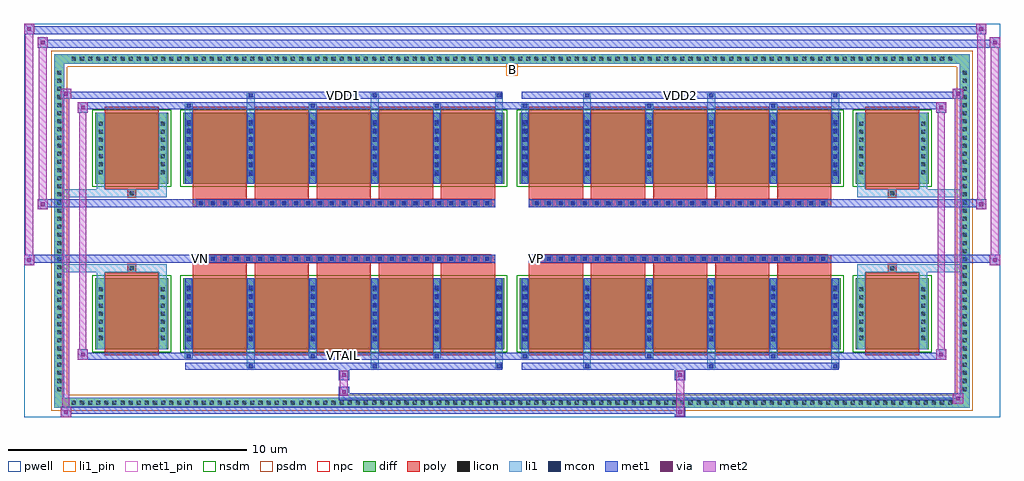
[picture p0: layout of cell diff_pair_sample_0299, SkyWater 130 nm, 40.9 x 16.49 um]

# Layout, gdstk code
import gdstk
lib = gdstk.Library(unit=1e-6, precision=5e-09)
def R(c, l, rs):  # rectangles x0, y0, x1, y1
    for r in rs: c.add(gdstk.rectangle(r[:2], r[2:], *l))
def A(c, l, x, y, w, h, nx, ny, dx, dy):  # array of equal rectangles
    R(c, l, [(x+i*dx, y+j*dy, x+i*dx+w, y+j*dy+h) for i in range(nx) for j in range(ny)])
def P(c, l, *ps):  # polygons
    for p in ps: c.add(gdstk.Polygon(p, *l))
pwell = (64, 44)
diff = (65, 20)
poly = (66, 20)
licon = (66, 44)
li1_pin = (67, 16)
li1 = (67, 20)
mcon = (67, 44)
met1_pin = (68, 16)
met1 = (68, 20)
via = (68, 44)
met2 = (69, 20)
nsdm = (93, 44)
psdm = (94, 20)
npc = (95, 20)

diff_pair_sample_0299 = lib.new_cell('diff_pair_sample_0299')
R(diff_pair_sample_0299, pwell, [(-20.45,-7.81,20.45,8.68), (-17.77,-6,-0.01,-0.8), (0.01,-6,17.77,-0.8), (-17.77,0.8,-0.01,6), (0.01,0.8,17.77,6)])
A(diff_pair_sample_0299, diff, -18.565, -7.41, 0.41, 0.41, 109, 2, 0.34, 14.41)
A(diff_pair_sample_0299, diff, -19.18, -6.835, 0.41, 0.41, 1, 40, 0, 0.34)
A(diff_pair_sample_0299, diff, 18.77, -6.835, 0.41, 0.41, 1, 40, 0, 0.34)
R(diff_pair_sample_0299, diff, [(-18.565,-7.41,18.565,-7), (-19.18,-6.835,-18.77,6.835), (18.77,-6.835,19.18,6.835), (-17.46,-4.955,-14.41,-1.985), (-13.77,-4.955,-0.32,-1.985), (0.32,-4.955,13.77,-1.985), (14.41,-4.955,17.46,-1.985), (-17.46,1.985,-14.41,4.955), (-13.77,1.985,-0.32,4.955), (0.32,1.985,13.77,4.955), (14.41,1.985,17.46,4.955), (-18.565,7,18.565,7.41)])
P(diff_pair_sample_0299, diff, [(19.18,7.41),(-19.18,7.41),(-19.18,-7),(-18.77,-7),(-18.77,7),(18.77,7),(18.77,-7),(-18.77,-7),(-19.18,-7),(-19.18,-7.41),(19.18,-7.41)])
A(diff_pair_sample_0299, poly, -13.38, -5.205, 2.27, 3.47, 5, 2, 2.6, 6.94)
A(diff_pair_sample_0299, poly, 0.71, -5.205, 2.27, 3.47, 5, 2, 2.6, 6.94)
A(diff_pair_sample_0299, poly, -13.38, -1.735, 2.27, 0.405, 5, 2, 2.6, 3.065)
A(diff_pair_sample_0299, poly, 0.71, -1.735, 2.27, 0.405, 5, 2, 2.6, 3.065)
A(diff_pair_sample_0299, poly, -13.21, -1.33, 0.33, 0.33, 25, 2, 0.5, 2.33)
A(diff_pair_sample_0299, poly, 0.88, -1.33, 0.33, 0.33, 25, 2, 0.5, 2.33)
R(diff_pair_sample_0299, poly, [(-17.07,-5.205,-14.8,-1.735), (14.8,-5.205,17.07,-1.735), (-16.1,-1.735,-15.77,-1.405), (-16.1,-1.735,-15.77,-1.405), (15.77,-1.735,16.1,-1.405), (15.77,-1.735,16.1,-1.405), (-13.38,-1.33,-0.71,-1), (0.71,-1.33,13.38,-1), (-13.38,1,-0.71,1.33), (0.71,1,13.38,1.33), (-16.1,1.405,-15.77,1.735), (-16.1,1.405,-15.77,1.735), (15.77,1.405,16.1,1.735), (15.77,1.405,16.1,1.735), (-17.07,1.735,-14.8,5.205), (14.8,1.735,17.07,5.205)])
A(diff_pair_sample_0299, licon, -18.445, -7.29, 0.17, 0.17, 109, 2, 0.34, 14.41)
A(diff_pair_sample_0299, licon, -19.06, -6.715, 0.17, 0.17, 1, 40, 0, 0.34)
A(diff_pair_sample_0299, licon, 18.89, -6.715, 0.17, 0.17, 1, 40, 0, 0.34)
A(diff_pair_sample_0299, licon, -17.32, -4.575, 0.17, 0.17, 1, 7, 0, 0.34)
A(diff_pair_sample_0299, licon, -14.72, -4.575, 0.17, 0.17, 1, 7, 0, 0.34)
A(diff_pair_sample_0299, licon, -13.63, -4.575, 0.17, 0.17, 6, 7, 2.6, 0.34)
A(diff_pair_sample_0299, licon, 0.46, -4.575, 0.17, 0.17, 6, 7, 2.6, 0.34)
A(diff_pair_sample_0299, licon, 14.55, -4.575, 0.17, 0.17, 1, 7, 0, 0.34)
A(diff_pair_sample_0299, licon, 17.15, -4.575, 0.17, 0.17, 1, 7, 0, 0.34)
A(diff_pair_sample_0299, licon, -13.13, -1.25, 0.17, 0.17, 25, 2, 0.5, 2.33)
A(diff_pair_sample_0299, licon, 0.96, -1.25, 0.17, 0.17, 25, 2, 0.5, 2.33)
A(diff_pair_sample_0299, licon, -17.32, 2.365, 0.17, 0.17, 1, 7, 0, 0.34)
A(diff_pair_sample_0299, licon, -14.72, 2.365, 0.17, 0.17, 1, 7, 0, 0.34)
A(diff_pair_sample_0299, licon, -13.63, 2.365, 0.17, 0.17, 6, 7, 2.6, 0.34)
A(diff_pair_sample_0299, licon, 0.46, 2.365, 0.17, 0.17, 6, 7, 2.6, 0.34)
A(diff_pair_sample_0299, licon, 14.55, 2.365, 0.17, 0.17, 1, 7, 0, 0.34)
A(diff_pair_sample_0299, licon, 17.15, 2.365, 0.17, 0.17, 1, 7, 0, 0.34)
R(diff_pair_sample_0299, licon, [(-16.02,-1.655,-15.85,-1.485), (15.85,-1.655,16.02,-1.485), (-16.02,1.485,-15.85,1.655), (15.85,1.485,16.02,1.655)])
R(diff_pair_sample_0299, li1_pin, [(-0.25,6.5,0.25,7)])
A(diff_pair_sample_0299, li1, -18.525, -7.37, 0.33, 0.33, 109, 2, 0.34, 14.41)
A(diff_pair_sample_0299, li1, -19.14, -6.795, 0.33, 0.33, 1, 40, 0, 0.34)
A(diff_pair_sample_0299, li1, 18.81, -6.795, 0.33, 0.33, 1, 40, 0, 0.34)
A(diff_pair_sample_0299, li1, -11.11, -5.76, 0.33, 0.805, 3, 2, 5.2, 10.715)
A(diff_pair_sample_0299, li1, -11.03, -5.76, 0.17, 0.17, 3, 2, 5.2, 11.35)
A(diff_pair_sample_0299, li1, 2.98, -5.76, 0.33, 0.805, 3, 2, 5.2, 10.715)
A(diff_pair_sample_0299, li1, 3.06, -5.76, 0.17, 0.17, 3, 2, 5.2, 11.35)
A(diff_pair_sample_0299, li1, -13.71, -5.33, 0.33, 0.375, 3, 2, 5.2, 10.285)
A(diff_pair_sample_0299, li1, -13.63, -5.33, 0.17, 0.17, 3, 2, 5.2, 10.49)
A(diff_pair_sample_0299, li1, 0.38, -5.33, 0.33, 0.375, 3, 2, 5.2, 10.285)
A(diff_pair_sample_0299, li1, 0.46, -5.33, 0.17, 0.17, 3, 2, 5.2, 10.49)
A(diff_pair_sample_0299, li1, -13.71, -4.955, 0.33, 2.97, 6, 2, 2.6, 6.94)
A(diff_pair_sample_0299, li1, 0.38, -4.955, 0.33, 2.97, 6, 2, 2.6, 6.94)
A(diff_pair_sample_0299, li1, -17.4, -4.655, 0.33, 0.33, 1, 7, 0, 0.34)
A(diff_pair_sample_0299, li1, -14.8, -4.655, 0.33, 0.33, 1, 7, 0, 0.34)
A(diff_pair_sample_0299, li1, -13.71, -4.655, 0.33, 0.33, 6, 7, 2.6, 0.34)
A(diff_pair_sample_0299, li1, 0.38, -4.655, 0.33, 0.33, 6, 7, 2.6, 0.34)
A(diff_pair_sample_0299, li1, 14.47, -4.655, 0.33, 0.33, 1, 7, 0, 0.34)
A(diff_pair_sample_0299, li1, 17.07, -4.655, 0.33, 0.33, 1, 7, 0, 0.34)
A(diff_pair_sample_0299, li1, -13.63, -4.635, 0.17, 0.17, 6, 7, 2.6, 0.36)
A(diff_pair_sample_0299, li1, -13.63, -4.635, 0.17, 2.33, 6, 2, 2.6, 6.94)
A(diff_pair_sample_0299, li1, 0.46, -4.635, 0.17, 0.17, 6, 7, 2.6, 0.36)
A(diff_pair_sample_0299, li1, 0.46, -4.635, 0.17, 2.33, 6, 2, 2.6, 6.94)
A(diff_pair_sample_0299, li1, -13.21, -1.33, 0.33, 0.33, 25, 2, 0.5, 2.33)
A(diff_pair_sample_0299, li1, 0.88, -1.33, 0.33, 0.33, 25, 2, 0.5, 2.33)
A(diff_pair_sample_0299, li1, -17.4, 2.285, 0.33, 0.33, 1, 7, 0, 0.34)
A(diff_pair_sample_0299, li1, -14.8, 2.285, 0.33, 0.33, 1, 7, 0, 0.34)
A(diff_pair_sample_0299, li1, -13.71, 2.285, 0.33, 0.33, 6, 7, 2.6, 0.34)
A(diff_pair_sample_0299, li1, 0.38, 2.285, 0.33, 0.33, 6, 7, 2.6, 0.34)
A(diff_pair_sample_0299, li1, 14.47, 2.285, 0.33, 0.33, 1, 7, 0, 0.34)
A(diff_pair_sample_0299, li1, 17.07, 2.285, 0.33, 0.33, 1, 7, 0, 0.34)
A(diff_pair_sample_0299, li1, -13.63, 2.305, 0.17, 0.17, 6, 7, 2.6, 0.36)
A(diff_pair_sample_0299, li1, 0.46, 2.305, 0.17, 0.17, 6, 7, 2.6, 0.36)
R(diff_pair_sample_0299, li1, [(-19.18,-7.41,-18.77,-7), (-19.18,-7.41,-18.77,-7), (-18.77,-7.41,18.77,-7), (18.77,-7.41,19.18,-7), (18.77,-7.41,19.18,-7), (-19.18,-7,-18.77,7), (18.77,-7,19.18,7), (-17.4,-4.955,-17.07,-1.985), (-14.8,-4.955,-14.47,-1.985), (14.47,-4.955,14.8,-1.985), (17.07,-4.955,17.4,-1.985), (-17.4,-1.985,-17.07,-1.405), (-14.8,-1.985,-14.47,-1.405), (14.47,-1.985,14.8,-1.405), (17.07,-1.985,17.4,-1.405), (-19.18,-1.735,-16.1,-1.405), (-17.4,-1.735,-16.1,-1.405), (-16.1,-1.735,-15.77,-1.405), (-15.77,-1.735,-14.47,-1.405), (14.47,-1.735,15.77,-1.405), (15.77,-1.735,16.1,-1.405), (15.77,-1.735,19.18,-1.405), (16.1,-1.735,17.4,-1.405), (-19.18,1.405,-16.1,1.735), (-17.4,1.405,-16.1,1.735), (-17.4,1.405,-17.07,1.985), (-16.1,1.405,-15.77,1.735), (-15.77,1.405,-14.47,1.735), (-14.8,1.405,-14.47,1.985), (14.47,1.405,15.77,1.735), (14.47,1.405,14.8,1.985), (15.77,1.405,16.1,1.735), (15.77,1.405,19.18,1.735), (16.1,1.405,17.4,1.735), (17.07,1.405,17.4,1.985), (-17.4,1.985,-17.07,4.955), (-14.8,1.985,-14.47,4.955), (14.47,1.985,14.8,4.955), (17.07,1.985,17.4,4.955), (-19.18,7,-18.77,7.41), (-19.18,7,-18.77,7.41), (-18.77,7,18.77,7.41), (18.77,7,19.18,7.41), (18.77,7,19.18,7.41)])
A(diff_pair_sample_0299, mcon, -11.03, -5.76, 0.17, 0.17, 3, 2, 5.2, 11.35)
A(diff_pair_sample_0299, mcon, 3.06, -5.76, 0.17, 0.17, 3, 2, 5.2, 11.35)
A(diff_pair_sample_0299, mcon, -13.63, -5.33, 0.17, 0.17, 3, 2, 5.2, 10.49)
A(diff_pair_sample_0299, mcon, 0.46, -5.33, 0.17, 0.17, 3, 2, 5.2, 10.49)
A(diff_pair_sample_0299, mcon, -13.63, -4.635, 0.17, 0.17, 6, 7, 2.6, 0.36)
A(diff_pair_sample_0299, mcon, 0.46, -4.635, 0.17, 0.17, 6, 7, 2.6, 0.36)
A(diff_pair_sample_0299, mcon, -13.13, -1.25, 0.17, 0.17, 25, 2, 0.5, 2.33)
A(diff_pair_sample_0299, mcon, 0.96, -1.25, 0.17, 0.17, 25, 2, 0.5, 2.33)
A(diff_pair_sample_0299, mcon, -13.63, 2.305, 0.17, 0.17, 6, 7, 2.6, 0.36)
A(diff_pair_sample_0299, mcon, 0.46, 2.305, 0.17, 0.17, 6, 7, 2.6, 0.36)
R(diff_pair_sample_0299, met1_pin, [(-7.18,-5.37,-6.91,-5.1), (-13.18,-1.29,-12.91,-1.02), (0.91,-1.29,1.18,-1.02), (-7.18,5.55,-6.91,5.82), (6.91,5.55,7.18,5.82)])
A(diff_pair_sample_0299, met1, -11.09, -5.82, 0.29, 0.29, 3, 2, 5.2, 11.35)
A(diff_pair_sample_0299, met1, 3, -5.82, 0.29, 0.29, 3, 2, 5.2, 11.35)
A(diff_pair_sample_0299, met1, -13.69, -5.39, 0.29, 0.29, 3, 2, 5.2, 10.49)
A(diff_pair_sample_0299, met1, 0.4, -5.39, 0.29, 0.29, 3, 2, 5.2, 10.49)
A(diff_pair_sample_0299, met1, -13.69, -4.955, 0.29, 2.97, 6, 2, 2.6, 6.94)
A(diff_pair_sample_0299, met1, 0.4, -4.955, 0.29, 2.97, 6, 2, 2.6, 6.94)
A(diff_pair_sample_0299, met1, -13.69, -4.695, 0.29, 0.29, 6, 7, 2.6, 0.36)
A(diff_pair_sample_0299, met1, 0.4, -4.695, 0.29, 0.29, 6, 7, 2.6, 0.36)
A(diff_pair_sample_0299, met1, -13.19, -1.31, 0.29, 0.29, 25, 2, 0.5, 2.33)
A(diff_pair_sample_0299, met1, 0.9, -1.31, 0.29, 0.29, 25, 2, 0.5, 2.33)
A(diff_pair_sample_0299, met1, -13.69, 2.245, 0.29, 0.29, 6, 7, 2.6, 0.36)
A(diff_pair_sample_0299, met1, 0.4, 2.245, 0.29, 0.29, 6, 7, 2.6, 0.36)
R(diff_pair_sample_0299, met1, [(-18.91,-7.81,-18.48,-7.38), (6.83,-7.81,7.26,-7.38), (-18.91,-7.67,7.26,-7.38), (18.48,-7.24,18.91,-6.81), (-7.26,-7.1,18.91,-6.81), (-7.26,-6.96,-6.83,-6.53), (-7.26,-6.25,-6.83,-5.82), (6.83,-6.25,7.26,-5.82), (-13.69,-5.82,-0.4,-5.53), (0.4,-5.82,13.69,-5.53), (-18.2,-5.39,-17.77,-4.96), (-18.2,-5.39,-13.69,-5.1), (-13.69,-5.39,-0.4,-5.1), (-0.4,-5.39,0.4,-5.1), (0.4,-5.39,13.69,-5.1), (13.69,-5.39,18.2,-5.1), (17.77,-5.39,18.2,-4.96), (-20.45,-1.43,-20.02,-1), (20.02,-1.43,20.45,-1), (-20.45,-1.33,-0.71,-1), (-13.38,-1.33,-0.71,-1), (0.71,-1.33,13.38,-1), (0.71,-1.33,20.45,-1), (-19.88,0.9,-19.45,1.33), (19.45,0.9,19.88,1.33), (-19.88,1,-13.38,1.33), (-13.38,1,-0.71,1.33), (0.71,1,13.38,1.33), (13.38,1,19.88,1.33), (-18.2,4.96,-17.77,5.39), (17.77,4.96,18.2,5.39), (-18.2,5.1,-13.69,5.39), (-13.69,5.1,-0.4,5.39), (-0.4,5.1,0.4,5.39), (0.4,5.1,13.69,5.39), (13.69,5.1,18.2,5.39), (-18.91,5.53,-18.48,5.96), (-18.91,5.53,-13.69,5.82), (-13.69,5.53,-0.4,5.82), (0.4,5.53,13.69,5.82), (13.69,5.53,18.91,5.82), (18.48,5.53,18.91,5.96), (-19.88,7.68,-19.45,8.11), (-19.88,7.68,-17.77,8.01), (-17.77,7.68,17.77,8.01), (17.77,7.68,20.45,8.01), (20.02,7.68,20.45,8.11), (-20.45,8.25,-20.02,8.68), (-20.45,8.25,-17.77,8.58), (-17.77,8.25,17.77,8.58), (17.77,8.25,19.88,8.58), (19.45,8.25,19.88,8.68)])
R(diff_pair_sample_0299, via, [(-18.77,-7.67,-18.62,-7.52), (6.97,-7.67,7.12,-7.52), (18.62,-7.1,18.77,-6.95), (-7.12,-6.82,-6.97,-6.67), (-7.12,-6.11,-6.97,-5.96), (6.97,-6.11,7.12,-5.96), (-18.06,-5.25,-17.91,-5.1), (17.91,-5.25,18.06,-5.1), (-20.31,-1.29,-20.16,-1.14), (20.16,-1.29,20.31,-1.14), (-19.74,1.04,-19.59,1.19), (19.59,1.04,19.74,1.19), (-18.06,5.1,-17.91,5.25), (17.91,5.1,18.06,5.25), (-18.77,5.67,-18.62,5.82), (18.62,5.67,18.77,5.82), (-19.74,7.82,-19.59,7.97), (20.16,7.82,20.31,7.97), (-20.31,8.39,-20.16,8.54), (19.59,8.39,19.74,8.54)])
R(diff_pair_sample_0299, met2, [(-18.91,-7.81,-18.48,-7.38), (-18.84,-7.81,-18.55,5.96), (-18.55,-7.81,-18.48,-7.38), (-18.86,-7.76,-18.53,-7.43), (6.88,-7.76,7.21,-7.43), (6.88,-7.43,7.21,-6.2), (18.48,-7.24,18.91,-6.81), (18.55,-7.24,18.84,5.96), (18.84,-7.24,18.91,-6.81), (18.53,-7.19,18.86,-6.86), (-7.21,-6.91,-6.88,-6.58), (-7.21,-6.58,-6.88,-6.2), (-7.21,-6.2,-6.88,-5.87), (6.88,-6.2,7.21,-5.87), (-18.2,-5.39,-17.77,-4.96), (-18.13,-5.39,-17.84,5.39), (-17.84,-5.39,-17.77,-4.96), (17.77,-5.39,18.2,-4.96), (17.84,-5.39,18.13,5.39), (18.13,-5.39,18.2,-4.96), (-18.15,-5.34,-17.82,-5.01), (17.82,-5.34,18.15,-5.01), (-20.45,-1.43,-20.02,-1), (-20.4,-1.43,-20.07,8.68), (-20.07,-1.43,-20.02,-1), (20.02,-1.43,20.45,-1), (20.07,-1.43,20.4,8.11), (20.4,-1.43,20.45,-1), (-20.4,-1.38,-20.07,-1.05), (20.07,-1.38,20.4,-1.05), (-19.88,0.9,-19.45,1.33), (-19.83,0.9,-19.5,8.11), (-19.5,0.9,-19.45,1.33), (19.45,0.9,19.88,1.33), (19.5,0.9,19.83,8.68), (19.83,0.9,19.88,1.33), (-19.83,0.95,-19.5,1.28), (19.5,0.95,19.83,1.28), (-18.2,4.96,-17.77,5.39), (-17.84,4.96,-17.77,5.39), (17.77,4.96,18.2,5.39), (18.13,4.96,18.2,5.39), (-18.15,5.01,-17.82,5.34), (17.82,5.01,18.15,5.34), (-18.91,5.53,-18.48,5.96), (-18.55,5.53,-18.48,5.96), (18.48,5.53,18.91,5.96), (18.84,5.53,18.91,5.96), (-18.86,5.58,-18.53,5.91), (18.53,5.58,18.86,5.91), (-19.88,7.68,-19.45,8.11), (-19.5,7.68,-19.45,8.11), (20.02,7.68,20.45,8.11), (20.4,7.68,20.45,8.11), (-19.83,7.73,-19.5,8.06), (20.07,7.73,20.4,8.06), (-20.45,8.25,-20.02,8.68), (-20.07,8.25,-20.02,8.68), (19.45,8.25,19.88,8.68), (19.83,8.25,19.88,8.68), (-20.4,8.3,-20.07,8.63), (19.5,8.3,19.83,8.63)])
R(diff_pair_sample_0299, nsdm, [(-17.59,-5.085,-14.28,-1.855), (-13.9,-5.085,-0.19,-1.855), (0.19,-5.085,13.9,-1.855), (14.28,-5.085,17.59,-1.855), (-17.59,1.855,-14.28,5.085), (-13.9,1.855,-0.19,5.085), (0.19,1.855,13.9,5.085), (14.28,1.855,17.59,5.085)])
P(diff_pair_sample_0299, psdm, [(19.31,7.54),(-19.31,7.54),(-19.31,-6.87),(-18.64,-6.87),(-18.64,6.87),(18.64,6.87),(18.64,-6.87),(-18.64,-6.87),(-19.31,-6.87),(-19.31,-7.54),(19.31,-7.54)])
A(diff_pair_sample_0299, npc, -13.23, -1.35, 0.37, 0.37, 25, 2, 0.5, 2.33)
A(diff_pair_sample_0299, npc, 0.86, -1.35, 0.37, 0.37, 25, 2, 0.5, 2.33)
R(diff_pair_sample_0299, npc, [(-16.12,-1.755,-15.75,-1.385), (15.75,-1.755,16.12,-1.385), (-13.23,-1.35,-12.36,-0.98), (-13.23,-1.35,-12.36,-0.98), (-12.73,-1.35,-11.86,-0.98), (-12.73,-1.35,-11.86,-0.98), (-12.23,-1.35,-11.36,-0.98), (-12.23,-1.35,-11.36,-0.98), (-11.73,-1.35,-10.86,-0.98), (-11.73,-1.35,-10.86,-0.98), (-11.23,-1.35,-10.36,-0.98), (-11.23,-1.35,-10.36,-0.98), (-10.73,-1.35,-9.86,-0.98), (-10.73,-1.35,-9.86,-0.98), (-10.23,-1.35,-9.36,-0.98), (-10.23,-1.35,-9.36,-0.98), (-9.73,-1.35,-8.86,-0.98), (-9.73,-1.35,-8.86,-0.98), (-9.23,-1.35,-8.36,-0.98), (-9.23,-1.35,-8.36,-0.98), (-8.73,-1.35,-7.86,-0.98), (-8.73,-1.35,-7.86,-0.98), (-8.23,-1.35,-7.36,-0.98), (-8.23,-1.35,-7.36,-0.98), (-7.73,-1.35,-6.86,-0.98), (-7.73,-1.35,-6.86,-0.98), (-7.23,-1.35,-6.36,-0.98), (-7.23,-1.35,-6.36,-0.98), (-6.73,-1.35,-5.86,-0.98), (-6.73,-1.35,-5.86,-0.98), (-6.23,-1.35,-5.36,-0.98), (-6.23,-1.35,-5.36,-0.98), (-5.73,-1.35,-4.86,-0.98), (-5.73,-1.35,-4.86,-0.98), (-5.23,-1.35,-4.36,-0.98), (-5.23,-1.35,-4.36,-0.98), (-4.73,-1.35,-3.86,-0.98), (-4.73,-1.35,-3.86,-0.98), (-4.23,-1.35,-3.36,-0.98), (-4.23,-1.35,-3.36,-0.98), (-3.73,-1.35,-2.86,-0.98), (-3.73,-1.35,-2.86,-0.98), (-3.23,-1.35,-2.36,-0.98), (-3.23,-1.35,-2.36,-0.98), (-2.73,-1.35,-1.86,-0.98), (-2.73,-1.35,-1.86,-0.98), (-2.23,-1.35,-1.36,-0.98), (-2.23,-1.35,-1.36,-0.98), (-1.73,-1.35,-0.86,-0.98), (-1.73,-1.35,-0.86,-0.98), (0.86,-1.35,1.73,-0.98), (0.86,-1.35,1.73,-0.98), (1.36,-1.35,2.23,-0.98), (1.36,-1.35,2.23,-0.98), (1.86,-1.35,2.73,-0.98), (1.86,-1.35,2.73,-0.98), (2.36,-1.35,3.23,-0.98), (2.36,-1.35,3.23,-0.98), (2.86,-1.35,3.73,-0.98), (2.86,-1.35,3.73,-0.98), (3.36,-1.35,4.23,-0.98), (3.36,-1.35,4.23,-0.98), (3.86,-1.35,4.73,-0.98), (3.86,-1.35,4.73,-0.98), (4.36,-1.35,5.23,-0.98), (4.36,-1.35,5.23,-0.98), (4.86,-1.35,5.73,-0.98), (4.86,-1.35,5.73,-0.98), (5.36,-1.35,6.23,-0.98), (5.36,-1.35,6.23,-0.98), (5.86,-1.35,6.73,-0.98), (5.86,-1.35,6.73,-0.98), (6.36,-1.35,7.23,-0.98), (6.36,-1.35,7.23,-0.98), (6.86,-1.35,7.73,-0.98), (6.86,-1.35,7.73,-0.98), (7.36,-1.35,8.23,-0.98), (7.36,-1.35,8.23,-0.98), (7.86,-1.35,8.73,-0.98), (7.86,-1.35,8.73,-0.98), (8.36,-1.35,9.23,-0.98), (8.36,-1.35,9.23,-0.98), (8.86,-1.35,9.73,-0.98), (8.86,-1.35,9.73,-0.98), (9.36,-1.35,10.23,-0.98), (9.36,-1.35,10.23,-0.98), (9.86,-1.35,10.73,-0.98), (9.86,-1.35,10.73,-0.98), (10.36,-1.35,11.23,-0.98), (10.36,-1.35,11.23,-0.98), (10.86,-1.35,11.73,-0.98), (10.86,-1.35,11.73,-0.98), (11.36,-1.35,12.23,-0.98), (11.36,-1.35,12.23,-0.98), (11.86,-1.35,12.73,-0.98), (11.86,-1.35,12.73,-0.98), (12.36,-1.35,13.23,-0.98), (12.36,-1.35,13.23,-0.98), (-13.23,0.98,-12.36,1.35), (-13.23,0.98,-12.36,1.35), (-12.73,0.98,-11.86,1.35), (-12.73,0.98,-11.86,1.35), (-12.23,0.98,-11.36,1.35), (-12.23,0.98,-11.36,1.35), (-11.73,0.98,-10.86,1.35), (-11.73,0.98,-10.86,1.35), (-11.23,0.98,-10.36,1.35), (-11.23,0.98,-10.36,1.35), (-10.73,0.98,-9.86,1.35), (-10.73,0.98,-9.86,1.35), (-10.23,0.98,-9.36,1.35), (-10.23,0.98,-9.36,1.35), (-9.73,0.98,-8.86,1.35), (-9.73,0.98,-8.86,1.35), (-9.23,0.98,-8.36,1.35), (-9.23,0.98,-8.36,1.35), (-8.73,0.98,-7.86,1.35), (-8.73,0.98,-7.86,1.35), (-8.23,0.98,-7.36,1.35), (-8.23,0.98,-7.36,1.35), (-7.73,0.98,-6.86,1.35), (-7.73,0.98,-6.86,1.35), (-7.23,0.98,-6.36,1.35), (-7.23,0.98,-6.36,1.35), (-6.73,0.98,-5.86,1.35), (-6.73,0.98,-5.86,1.35), (-6.23,0.98,-5.36,1.35), (-6.23,0.98,-5.36,1.35), (-5.73,0.98,-4.86,1.35), (-5.73,0.98,-4.86,1.35), (-5.23,0.98,-4.36,1.35), (-5.23,0.98,-4.36,1.35), (-4.73,0.98,-3.86,1.35), (-4.73,0.98,-3.86,1.35), (-4.23,0.98,-3.36,1.35), (-4.23,0.98,-3.36,1.35), (-3.73,0.98,-2.86,1.35), (-3.73,0.98,-2.86,1.35), (-3.23,0.98,-2.36,1.35), (-3.23,0.98,-2.36,1.35), (-2.73,0.98,-1.86,1.35), (-2.73,0.98,-1.86,1.35), (-2.23,0.98,-1.36,1.35), (-2.23,0.98,-1.36,1.35), (-1.73,0.98,-0.86,1.35), (-1.73,0.98,-0.86,1.35), (0.86,0.98,1.73,1.35), (0.86,0.98,1.73,1.35), (1.36,0.98,2.23,1.35), (1.36,0.98,2.23,1.35), (1.86,0.98,2.73,1.35), (1.86,0.98,2.73,1.35), (2.36,0.98,3.23,1.35), (2.36,0.98,3.23,1.35), (2.86,0.98,3.73,1.35), (2.86,0.98,3.73,1.35), (3.36,0.98,4.23,1.35), (3.36,0.98,4.23,1.35), (3.86,0.98,4.73,1.35), (3.86,0.98,4.73,1.35), (4.36,0.98,5.23,1.35), (4.36,0.98,5.23,1.35), (4.86,0.98,5.73,1.35), (4.86,0.98,5.73,1.35), (5.36,0.98,6.23,1.35), (5.36,0.98,6.23,1.35), (5.86,0.98,6.73,1.35), (5.86,0.98,6.73,1.35), (6.36,0.98,7.23,1.35), (6.36,0.98,7.23,1.35), (6.86,0.98,7.73,1.35), (6.86,0.98,7.73,1.35), (7.36,0.98,8.23,1.35), (7.36,0.98,8.23,1.35), (7.86,0.98,8.73,1.35), (7.86,0.98,8.73,1.35), (8.36,0.98,9.23,1.35), (8.36,0.98,9.23,1.35), (8.86,0.98,9.73,1.35), (8.86,0.98,9.73,1.35), (9.36,0.98,10.23,1.35), (9.36,0.98,10.23,1.35), (9.86,0.98,10.73,1.35), (9.86,0.98,10.73,1.35), (10.36,0.98,11.23,1.35), (10.36,0.98,11.23,1.35), (10.86,0.98,11.73,1.35), (10.86,0.98,11.73,1.35), (11.36,0.98,12.23,1.35), (11.36,0.98,12.23,1.35), (11.86,0.98,12.73,1.35), (11.86,0.98,12.73,1.35), (12.36,0.98,13.23,1.35), (12.36,0.98,13.23,1.35), (-16.12,1.385,-15.75,1.755), (15.75,1.385,16.12,1.755)])
diff_pair_sample_0299.add(gdstk.Label('VTAIL', (-7.045,-5.235), layer=68, texttype=5))
diff_pair_sample_0299.add(gdstk.Label('VN', (-13.045,-1.155), layer=68, texttype=5))
diff_pair_sample_0299.add(gdstk.Label('VP', (1.045,-1.155), layer=68, texttype=5))
diff_pair_sample_0299.add(gdstk.Label('B', (0,6.75), layer=67, texttype=5))
diff_pair_sample_0299.add(gdstk.Label('VDD2', (7.045,5.685), layer=68, texttype=5))
diff_pair_sample_0299.add(gdstk.Label('VDD1', (-7.045,5.685), layer=68, texttype=5))

lib.write_gds('diff_pair_sample_0299.gds')
